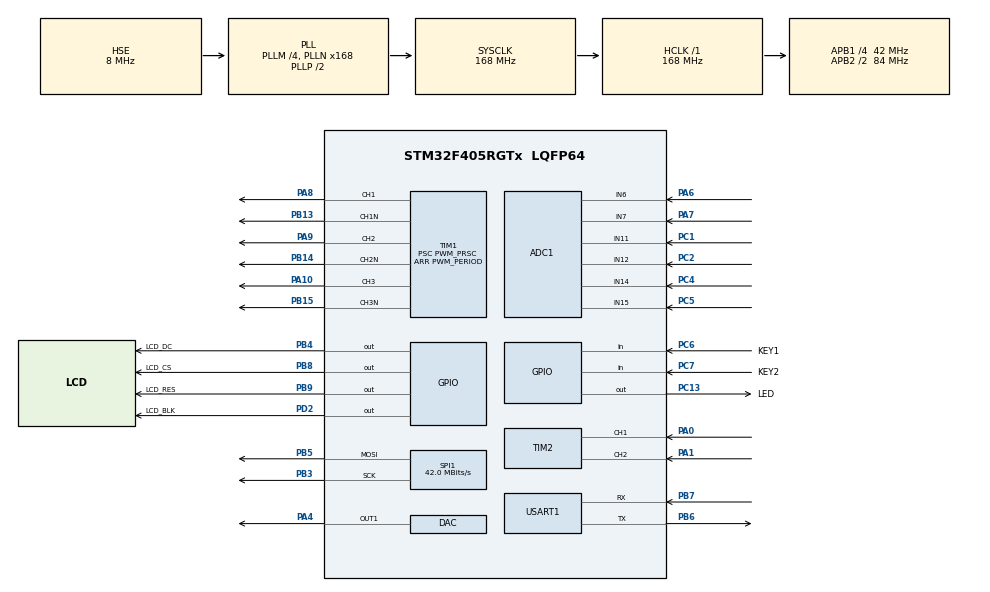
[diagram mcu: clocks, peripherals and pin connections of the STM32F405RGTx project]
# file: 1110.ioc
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ADC1.Channel-0\#ChannelRegularConversion=ADC_CHANNEL_12
ADC1.Channel-1\#ChannelInjectedConversion=ADC_CHANNEL_6
ADC1.Channel-2\#ChannelInjectedConversion=ADC_CHANNEL_7
ADC1.Channel-3\#ChannelInjectedConversion=ADC_CHANNEL_14
ADC1.Channel-7\#ChannelInjectedConversion=ADC_CHANNEL_11
ADC1.Channel-8\#ChannelRegularConversion=ADC_CHANNEL_15
ADC1.ContinuousConvMode=ENABLE
ADC1.DMAContinuousRequests=DISABLE
ADC1.DataAlign=ADC_DATAALIGN_RIGHT
ADC1.ExternalTrigInjecConv=ADC_EXTERNALTRIGINJECCONV_T1_CC4
ADC1.InjNumberOfConversion=4
ADC1.InjectedOffset-1\#ChannelInjectedConversion=0
ADC1.InjectedOffset-2\#ChannelInjectedConversion=0
ADC1.InjectedOffset-3\#ChannelInjectedConversion=0
ADC1.InjectedOffset-7\#ChannelInjectedConversion=0
ADC1.InjectedRank-1\#ChannelInjectedConversion=1
ADC1.InjectedRank-2\#ChannelInjectedConversion=2
ADC1.InjectedRank-3\#ChannelInjectedConversion=3
ADC1.InjectedRank-7\#ChannelInjectedConversion=4
ADC1.NbrOfConversion=2
ADC1.NbrOfConversionFlag=1
ADC1.Rank-0\#ChannelRegularConversion=1
ADC1.Rank-8\#ChannelRegularConversion=2
ADC1.SamplingTime-0\#ChannelRegularConversion=ADC_SAMPLETIME_144CYCLES
ADC1.SamplingTime-1\#ChannelInjectedConversion=ADC_SAMPLETIME_15CYCLES
ADC1.SamplingTime-2\#ChannelInjectedConversion=ADC_SAMPLETIME_15CYCLES
ADC1.SamplingTime-3\#ChannelInjectedConversion=ADC_SAMPLETIME_15CYCLES
ADC1.SamplingTime-7\#ChannelInjectedConversion=ADC_SAMPLETIME_3CYCLES
ADC1.SamplingTime-8\#ChannelRegularConversion=ADC_SAMPLETIME_144CYCLES
ADC1.ScanConvMode=ENABLE
ADC1.master=1
Dma.ADC1.0.Direction=DMA_PERIPH_TO_MEMORY
Dma.ADC1.0.FIFOMode=DMA_FIFOMODE_DISABLE
Dma.ADC1.0.Instance=DMA2_Stream0
Dma.ADC1.0.MemDataAlignment=DMA_MDATAALIGN_WORD
Dma.ADC1.0.MemInc=DMA_MINC_ENABLE
Dma.ADC1.0.Mode=DMA_CIRCULAR
Dma.ADC1.0.PeriphDataAlignment=DMA_PDATAALIGN_WORD
Dma.ADC1.0.PeriphInc=DMA_PINC_DISABLE
Dma.ADC1.0.Priority=DMA_PRIORITY_HIGH
Dma.Request0=ADC1
Mcu.Family=STM32F4
Mcu.Name=STM32F405RGTx
Mcu.Package=LQFP64
Mcu.UserConstants=REP_RATE,1;CKTIM,168000000;DEADTIME_NS,1000;ALIGNMENT_ANGLE,0;POLE_PAIR_NUM,4;PWM_PRSC,0;ICx_FILTER,8;PWM_FREQ,10000;COUNTER_RESET,(ALIGNMENT_ANGLE*4*ENCODER_PPR/360-1)/POLE_PAIR_NUM;PWM_PERIOD,CKTIM/(2*PWM_FREQ*(PWM_PRSC+1));DEADTIME,CKTIM/1000000/2*DEADTIME_NS/1000;ENCODER_PPR,2500
NVIC.ADC_IRQn=true\:1\:0\:true\:false\:true\:true\:true\:true
NVIC.DMA2_Stream0_IRQn=true\:1\:0\:true\:false\:true\:false\:true\:true
NVIC.PriorityGroup=NVIC_PRIORITYGROUP_4
NVIC.TIM2_IRQn=true\:2\:0\:true\:false\:true\:true\:true\:true
NVIC.TIM4_IRQn=true\:4\:0\:true\:false\:true\:true\:true\:true
PA0-WKUP.Signal=S_TIM2_CH1_ETR
PA1.Signal=S_TIM2_CH2
PA10.Signal=S_TIM1_CH3
PA11.Signal=CAN1_RX
PA13.Mode=Serial_Wire
PA13.Signal=SYS_JTMS-SWDIO
PA14.Mode=Serial_Wire
PA14.Signal=SYS_JTCK-SWCLK
PA4.Signal=COMP_DAC1_group
PA6.Signal=ADCx_IN6
PA7.Signal=ADCx_IN7
PA8.Signal=S_TIM1_CH1
PA9.Signal=S_TIM1_CH2
PB13.Mode=PWM Generation1 CH1 CH1N
PB13.Signal=TIM1_CH1N
PB14.Mode=PWM Generation2 CH2 CH2N
PB14.Signal=TIM1_CH2N
PB15.Mode=PWM Generation3 CH3 CH3N
PB15.Signal=TIM1_CH3N
PB3.Mode=TX_Only_Simplex_Unidirect_Master
PB3.Signal=SPI1_SCK
PB4.GPIO_Label=LCD_DC
PB4.Signal=GPIO_Output
PB5.Mode=TX_Only_Simplex_Unidirect_Master
PB5.Signal=SPI1_MOSI
PB6.Mode=Asynchronous
PB6.Signal=USART1_TX
PB7.Mode=Asynchronous
PB7.Signal=USART1_RX
PB8.GPIO_Label=LCD_CS
PB8.Signal=GPIO_Output
PB9.GPIO_Label=LCD_RES
PB9.Signal=GPIO_Output
PC1.Signal=ADCx_IN11
PC13-ANTI_TAMP.GPIO_Label=LED
PC13-ANTI_TAMP.Signal=GPIO_Output
PC2.Signal=ADCx_IN12
PC4.Signal=ADCx_IN14
PC5.Signal=ADCx_IN15
PC6.GPIO_Label=KEY1
PC6.GPIO_PuPd=GPIO_PULLUP
PC6.Signal=GPIO_Input
PC7.GPIO_Label=KEY2
PC7.GPIO_PuPd=GPIO_PULLUP
PC7.Signal=GPIO_Input
PD2.GPIO_Label=LCD_BLK
PD2.Signal=GPIO_Output
PH0-OSC_IN.Mode=HSE-External-Oscillator
PH0-OSC_IN.Signal=RCC_OSC_IN
PH1-OSC_OUT.Mode=HSE-External-Oscillator
PH1-OSC_OUT.Signal=RCC_OSC_OUT
ProjectManager.HeapSize=0x200
ProjectManager.StackSize=0x400
ProjectManager.TargetToolchain=MDK-ARM V5.32
RCC.48MHZClocksFreq_Value=84000000
RCC.AHBFreq_Value=168000000
RCC.APB1CLKDivider=RCC_HCLK_DIV4
RCC.APB1Freq_Value=42000000
RCC.APB1TimFreq_Value=84000000
RCC.APB2CLKDivider=RCC_HCLK_DIV2
RCC.APB2Freq_Value=84000000
RCC.APB2TimFreq_Value=168000000
RCC.CortexFreq_Value=168000000
RCC.HCLKFreq_Value=168000000
RCC.HSE_VALUE=8000000
RCC.HSI_VALUE=16000000
RCC.LSE_VALUE=32768
RCC.PLLM=4
RCC.PLLN=168
RCC.PLLSourceVirtual=RCC_PLLSOURCE_HSE
RCC.SYSCLKFreq_VALUE=168000000
RCC.SYSCLKSource=RCC_SYSCLKSOURCE_PLLCLK
RCC.VCOOutputFreq_Value=336000000
SH.ADCx_IN11.0=ADC1_IN11,IN11
SH.ADCx_IN12.0=ADC1_IN12,IN12
SH.ADCx_IN14.0=ADC1_IN14,IN14
SH.ADCx_IN15.0=ADC1_IN15,IN15
SH.ADCx_IN6.0=ADC1_IN6,IN6
SH.ADCx_IN7.0=ADC1_IN7,IN7
SH.COMP_DAC1_group.0=DAC_OUT1,DAC_OUT1
SH.S_TIM1_CH1.0=TIM1_CH1,PWM Generation1 CH1 CH1N
SH.S_TIM1_CH2.0=TIM1_CH2,PWM Generation2 CH2 CH2N
SH.S_TIM1_CH3.0=TIM1_CH3,PWM Generation3 CH3 CH3N
SH.S_TIM2_CH1_ETR.0=TIM2_CH1,Encoder_Interface
SH.S_TIM2_CH2.0=TIM2_CH2,Encoder_Interface
SPI1.BaudRatePrescaler=SPI_BAUDRATEPRESCALER_2
SPI1.CalculateBaudRate=42.0 MBits/s
SPI1.Direction=SPI_DIRECTION_2LINES
SPI1.Mode=SPI_MODE_MASTER
SPI1.VirtualType=VM_MASTER
TIM1.Channel-PWM\ Generation1\ CH1\ CH1N=TIM_CHANNEL_1
TIM1.Channel-PWM\ Generation2\ CH2\ CH2N=TIM_CHANNEL_2
TIM1.Channel-PWM\ Generation3\ CH3\ CH3N=TIM_CHANNEL_3
TIM1.Channel-PWM\ Generation4\ No\ Output=TIM_CHANNEL_4
TIM1.ClockDivision=TIM_CLOCKDIVISION_DIV2
TIM1.CounterMode=TIM_COUNTERMODE_CENTERALIGNED1
TIM1.DeadTime=DEADTIME
TIM1.LockLevel=TIM_LOCKLEVEL_1
TIM1.OCMode_PWM-PWM\ Generation4\ No\ Output=TIM_OCMODE_PWM2
TIM1.OCNIdleState_1=TIM_OCNIDLESTATE_SET
TIM1.OCNIdleState_2=TIM_OCNIDLESTATE_SET
TIM1.OCNIdleState_3=TIM_OCNIDLESTATE_SET
TIM1.OCNPolarity_1=TIM_OCNPOLARITY_LOW
TIM1.OCNPolarity_2=TIM_OCNPOLARITY_LOW
TIM1.OCNPolarity_3=TIM_OCNPOLARITY_LOW
TIM1.OCPolarity_1=TIM_OCPOLARITY_LOW
TIM1.OCPolarity_2=TIM_OCPOLARITY_LOW
TIM1.OCPolarity_3=TIM_OCPOLARITY_LOW
TIM1.OffStateIDLEMode=TIM_OSSI_ENABLE
TIM1.OffStateRunMode=TIM_OSSR_ENABLE
TIM1.Period=PWM_PERIOD
TIM1.Prescaler=PWM_PRSC
TIM1.Pulse-PWM\ Generation4\ No\ Output=PWM_PERIOD-1
TIM1.RepetitionCounter=REP_RATE
TIM1.TIM_MasterOutputTrigger=TIM_TRGO_OC4REF
TIM2.EncoderMode=TIM_ENCODERMODE_TI12
TIM2.IC1Filter=ICx_FILTER
TIM2.IC2Filter=ICx_FILTER
TIM2.Period=4*ENCODER_PPR-1
TIM4.Period=5000-1
TIM4.Prescaler=84-1
USART1.VirtualMode=VM_ASYNC
VP_TIM1_VS_ClockSourceINT.Mode=Internal
VP_TIM1_VS_no_output4.Mode=PWM Generation4 No Output
VP_TIM4_VS_ClockSourceINT.Mode=Internal
board=custom

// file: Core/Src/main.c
/* USER CODE BEGIN Header */
/**
  ******************************************************************************
  * @file           : main.c
  * @brief          : Main program body
  ******************************************************************************
  * @attention
  *
  * <h2><center>&copy; Copyright (c) 2021 STMicroelectronics.
  * All rights reserved.</center></h2>
  *
  * This software component is licensed by ST under BSD 3-Clause license,
  * the "License"; You may not use this file except in compliance with the
  * License. You may obtain a copy of the License at:
  *                        opensource.org/licenses/BSD-3-Clause
  *
  ******************************************************************************
  */
/* USER CODE END Header */
#include "main.h"
#include "adc.h"
#include "dac.h"
#include "dma.h"
#include "spi.h"
#include "tim.h"
#include "usart.h"
#include "gpio.h"

/* USER CODE BEGIN Includes */

#include "motor.h"
#include "stdio.h"
#include "tzmx.h"
#include "arm_math.h"
#include "user_fcn.h"

/* USER CODE END Includes */

void SystemClock_Config(void);

/* USER CODE BEGIN 0 */

extern float ref_in;
extern float ref_out;
extern float Uq;
extern float f1,f2,g0;

extern u8 State;
extern VOLTAGE_DQ_DEF Voltage_DQ;
extern CURRENT_DQ_DEF Current_Idq;
extern float Speed_Fdk,Speed_Ref;

extern u32 hPhaseA_OffSet;
extern u32 hPhaseB_OffSet;
extern u32 hPhaseC_OffSet;

float itamp;
/* USER CODE END 0 */

int main(void)
{

  /* MCU Configuration--------------------------------------------------------*/

  /* Reset of all peripherals, Initializes the Flash interface and the Systick. */
  HAL_Init();

  /* Configure the system clock */
  SystemClock_Config();

  /* Initialize all configured peripherals */
  MX_GPIO_Init();
  MX_DMA_Init();
  MX_TIM1_Init();
  MX_ADC1_Init();
  MX_USART1_UART_Init();
  MX_TIM4_Init();
  MX_TIM2_Init();
  MX_DAC_Init();
  MX_SPI1_Init();
  /* USER CODE BEGIN 2 */

	HAL_SYSTICK_Config(SystemCoreClock / (2000U / uwTickFreq));
	board_config();

  /* USER CODE END 2 */

  /* Infinite loop */
  while (1)
  {

    /* USER CODE BEGIN 3 */

		//ref_in=get_anlog_in()*MAX_SPEED;
		ref_in=800;

		if(State==RUN)
		{
		  printf("{plotter:%.2f}\n",ENC_Get_Electrical_Angle());
			printf("{Current:%.2f,%.2f}\n",get_Iab().Ia,get_Iab().Ib);
			printf("{BusVoltage:%.2f}\n",get_DC_BUS());
			printf("{Speed:%.2f,%.2f}\n",Speed_Ref,Speed_Fdk);
			printf("{Temperature:%.2f}\n",temper_trans());

		}

  }
  /* USER CODE END 3 */
}

void SystemClock_Config(void)
{
  RCC_OscInitTypeDef RCC_OscInitStruct = {0};
  RCC_ClkInitTypeDef RCC_ClkInitStruct = {0};

  /** Configure the main internal regulator output voltage
  */
  __HAL_RCC_PWR_CLK_ENABLE();
  __HAL_PWR_VOLTAGESCALING_CONFIG(PWR_REGULATOR_VOLTAGE_SCALE1);

  /** Initializes the RCC Oscillators according to the specified parameters
  * in the RCC_OscInitTypeDef structure.
  */
  RCC_OscInitStruct.OscillatorType = RCC_OSCILLATORTYPE_HSE;
  RCC_OscInitStruct.HSEState = RCC_HSE_ON;
  RCC_OscInitStruct.PLL.PLLState = RCC_PLL_ON;
  RCC_OscInitStruct.PLL.PLLSource = RCC_PLLSOURCE_HSE;
  RCC_OscInitStruct.PLL.PLLM = 4;
  RCC_OscInitStruct.PLL.PLLN = 168;
  RCC_OscInitStruct.PLL.PLLP = RCC_PLLP_DIV2;
  RCC_OscInitStruct.PLL.PLLQ = 4;
  if (HAL_RCC_OscConfig(&RCC_OscInitStruct) != HAL_OK)
  {
    Error_Handler();
  }

  /** Initializes the CPU, AHB and APB buses clocks
  */
  RCC_ClkInitStruct.ClockType = RCC_CLOCKTYPE_HCLK|RCC_CLOCKTYPE_SYSCLK
                              |RCC_CLOCKTYPE_PCLK1|RCC_CLOCKTYPE_PCLK2;
  RCC_ClkInitStruct.SYSCLKSource = RCC_SYSCLKSOURCE_PLLCLK;
  RCC_ClkInitStruct.AHBCLKDivider = RCC_SYSCLK_DIV1;
  RCC_ClkInitStruct.APB1CLKDivider = RCC_HCLK_DIV4;
  RCC_ClkInitStruct.APB2CLKDivider = RCC_HCLK_DIV2;

  if (HAL_RCC_ClockConfig(&RCC_ClkInitStruct, FLASH_LATENCY_5) != HAL_OK)
  {
    Error_Handler();
  }
}

void Error_Handler(void)
{
  __disable_irq();
  while (1)
  {
  }
}
